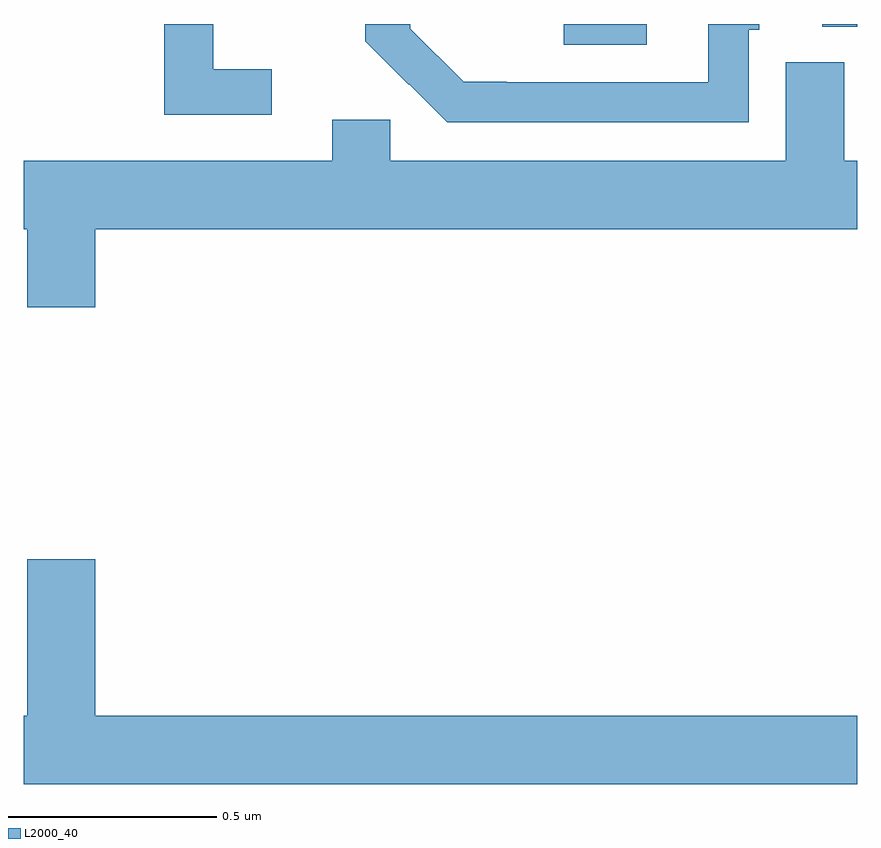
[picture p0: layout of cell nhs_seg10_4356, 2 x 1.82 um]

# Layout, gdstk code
import gdstk
lib = gdstk.Library(unit=1e-6, precision=1e-09)
def R(c, l, rs):  # rectangles x0, y0, x1, y1
    for r in rs: c.add(gdstk.rectangle(r[:2], r[2:], *l))
def P(c, l, *ps):  # polygons
    for p in ps: c.add(gdstk.Polygon(p, *l))
L2000_40 = (2000, 40)

nhs_seg10_4356 = lib.new_cell('nhs_seg10_4356')
R(nhs_seg10_4356, L2000_40, [(166.296,1275.45,166.495,1275.5), (166.916,1275.493,167,1275.5)])
P(nhs_seg10_4356, L2000_40, [(166.74,1275.486),(166.765,1275.486),(166.765,1275.5),(166.643,1275.5),(166.643,1275.36),(166.159,1275.36),(166.159,1275.361),(166.056,1275.361),(165.927,1275.489),(165.927,1275.5),(165.819,1275.5),(165.819,1275.459),(165.924,1275.354),(165.925,1275.355),(166.016,1275.264),(166.74,1275.264)],
  [(165.595,1275.391),(165.455,1275.391),(165.455,1275.5),(165.337,1275.5),(165.337,1275.282),(165.595,1275.282)],
  [(165.172,1275.008),(167,1275.008),(167,1275.172),(166.969,1275.172),(166.969,1275.408),(166.829,1275.408),(166.829,1275.172),(165.879,1275.172),(165.879,1275.27),(165.74,1275.27),(165.74,1275.172),(165,1275.172),(165,1275.008),(165.008,1275.008),(165.008,1274.82),(165.172,1274.82)],
  [(167,1273.84),(165.172,1273.84),(165.172,1274.215),(165.008,1274.215),(165.008,1273.84),(165,1273.84),(165,1273.676),(167,1273.676)])

lib.write_gds('nhs_seg10_4356.gds')
